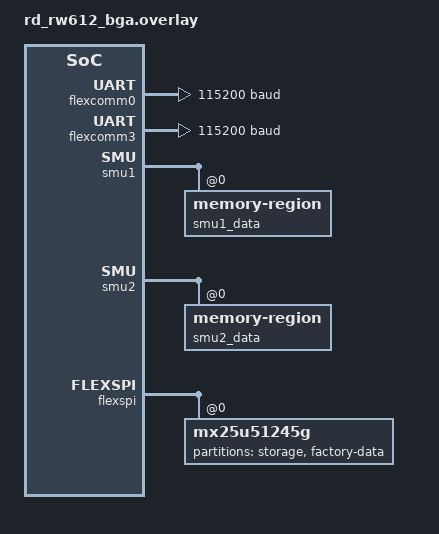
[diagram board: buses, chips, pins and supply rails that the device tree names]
/*
 *    Copyright (c) 2023 Project CHIP Authors
 *    All rights reserved.
 *
 *    Licensed under the Apache License, Version 2.0 (the "License");
 *    you may not use this file except in compliance with the License.
 *    You may obtain a copy of the License at
 *
 *        http: //www.apache.org/licenses/LICENSE-2.0
 *
 *    Unless required by applicable law or agreed to in writing, software
 *    distributed under the License is distributed on an "AS IS" BASIS
 *    WITHOUT WARRANTIES OR CONDITIONS OF ANY KIND, either express or implied.
 *    See the License for the specific language governing permissions and
 *    limitations under the License.
 */

#include <zephyr/dt-bindings/memory-attr/memory-attr-arm.h>

/ {
	chosen {
		zephyr,console = &flexcomm0;
		zephyr,shell-uart = &flexcomm3;
	};
};

&flexcomm0 {
	compatible = "nxp,lpc-usart";
	status = "okay";
	current-speed = <115200>;
	pinctrl-0 = <&pinmux_flexcomm0_usart>;
	pinctrl-names = "default";
};

&flexcomm3 {
	compatible = "nxp,lpc-usart";
	status = "okay";
	current-speed = <115200>;
	pinctrl-0 = <&pinmux_flexcomm3_usart>;
	pinctrl-names = "default";
};

&sram {
	#address-cells = <1>;
	#size-cells = <1>;

	sram_data: memory@20000000 {
		compatible = "mmio-sram";
		reg = <0x20000000 DT_SIZE_K(1216)>;
	};
};

&smu1 {
	#address-cells = <1>;
	#size-cells = <1>;

	smu1_data: memory@0 {
		compatible = "zephyr,memory-region","mmio-sram";
		reg = <0x0 DT_SIZE_K(510)>;
		zephyr,memory-region = "SMU1";
		zephyr,memory-attr = <(DT_MEM_ARM(ATTR_MPU_RAM))>;
	};
};

&smu2 {
	#address-cells = <1>;
	#size-cells = <1>;

	smu2_data: memory@0 {
		compatible = "zephyr,memory-region","mmio-sram";
		reg = <0x0 DT_SIZE_K(140)>;
		zephyr,memory-region = "SMU2";
		zephyr,memory-attr = <(DT_MEM_ARM(ATTR_MPU_RAM))>;
	};
};

&flexspi {
	status = "okay";

	mx25u51245g: mx25u51245g@0 {
		status = "okay";

		partitions {
			storage_partition: partition@a60000 {
				label = "storage";
				reg = <0xa60000 DT_SIZE_K(54908)>;
			};

			factory_partition: partition@3FFF000 {
				label = "factory-data";
				reg = <0x3FFF000 DT_SIZE_K(4)>;
			};

		};
	};
};
